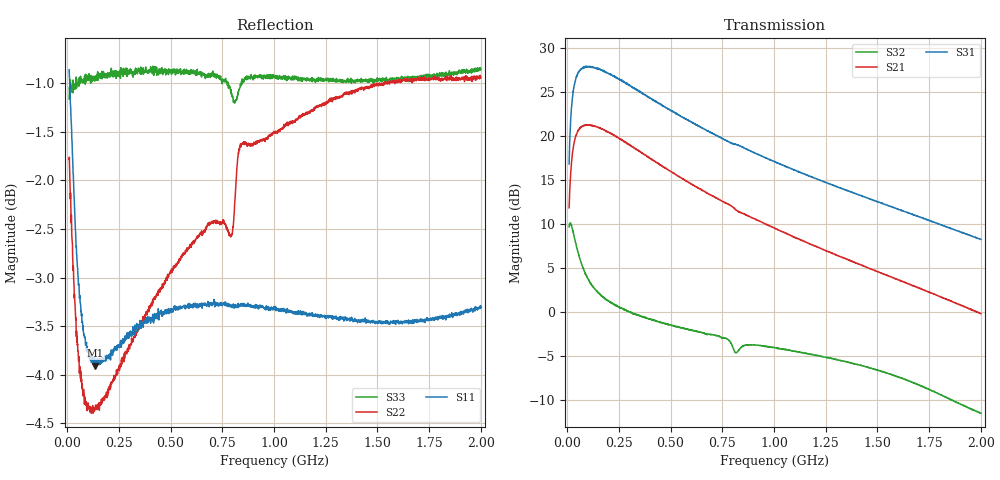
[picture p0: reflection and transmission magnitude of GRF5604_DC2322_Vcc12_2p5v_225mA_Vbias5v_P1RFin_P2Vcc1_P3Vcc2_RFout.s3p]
!Keysight Technologies,N5244B,MY57181157,A.18.40.03
!Date: Wednesday, September 10, 2025 10:31:20
!Correction: S11(C  3-Port  )
!S12(C  3-Port  )
!S13(C  3-Port  )
!S21(C  3-Port  )
!S22(C  3-Port  )
!S23(C  3-Port  )
!S31(C  3-Port  )
!S32(C  3-Port  )
!S33(C  3-Port  )
!S3P File: Measurements: <S11,S12,S13>,
!<S21,S22,S23>,
!<S31,S32,S33>:
# Hz S  RI  R 50
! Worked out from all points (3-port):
!   1991 points, 10 MHz to 2 GHz, reference 50 ohm
!   strongest paths, dB at 10 MHz, 507 MHz, 1.005 GHz, 1.503 GHz, 2 GHz:
!     S31: 16.8, 22.8, 17.1, 12.5, 8.2
!     S21: 11.8, 15.8, 9.5, 4.5, -0.2
!     S32: 9.6, -1.6, -4.1, -6.7, -11.6
!   lowest |S11| = -3.9 dB at 136 MHz (marker M1), VSWR 4.52, Z = 40.3 - j73.7 ohm
!   |S11| at or under -10 dB: nowhere
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1e7  0.8911 -0.1604  0.0407 -0.0114  0.000435 -0.000488
     -1.659 -3.528  0.7064 -0.4056  0.00358 -0.00945
     -0.842 6.868  -2.891 -0.9284  -0.3902 -0.7827
3e7  0.7312 -0.3263  0.0267 -0.0196  -0.000273 0.000201
     -6.705 -5.305  0.2092 -0.6865  0.00166 0.000766
     11.52 13.64  -2.657 0.9499  -0.8115 -0.3588
6e7  0.5609 -0.403  0.0138 -0.0155  7.46e-05 -3.03e-05
     -10.63 -2.512  -0.2197 -0.5935  0.00384 0.00307
     22.15 7.562  -1.666 1.169  -0.8743 -0.1931
9.2e7  0.4565 -0.4684  0.00953 -0.0108  -5.52e-05 1.86e-05
       -11.52 0.5327  -0.3878 -0.4691  0.00448 0.00304
       24.66 0.3338  -1.247 1.016  -0.883 -0.1354
1.36e8  0.3352 -0.5427  0.00822 -0.00619  8.47e-05 4.02e-05
        -10.73 3.528  -0.4835 -0.3643  0.00593 0.0042
        23.41 -6.909  -1.013 0.8794  -0.8936 -0.0959
2.65e8  0.00531 -0.6558  0.00884 -0.00117  -0.00037 0.000209
        -6.276 7.109  -0.5964 -0.2353  0.00831 0.00489
        13.53 -15.5  -0.7281 0.7483  -0.8988 -0.0569
4.91e8  -0.3416 -0.5887  0.0107 8.36e-05  -0.000299 0.000779
        -1.057 6.283  -0.6958 -0.1336  0.0104 0.00535
        1.554 -14.15  -0.4594 0.71  -0.9055 -0.0421
7.02e8  -0.4856 -0.4833  0.0112 -0.000295  -0.000461 0.00134
        0.7939 4.486  -0.754 -0.0661  0.0119 0.00692
        -2.825 -9.914  -0.2601 0.693  -0.8984 -0.0288
1.005e9  -0.5826 -0.3586  0.0105 -0.00111  -0.0005 0.00205
         1.513 2.573  -0.8408 0.013  0.00873 0.00234
         -4.706 -5.362  -0.0657 0.6205  -0.8984 -0.0165
2e9  -0.6829 0.0353  0.00931 0.00158  0.000508 0.00493
     0.9539 0.1992  -0.8028 0.401  0.0101 0.0101
     -2.499 0.6312  0.1875 0.186  -0.8925 0.1548
